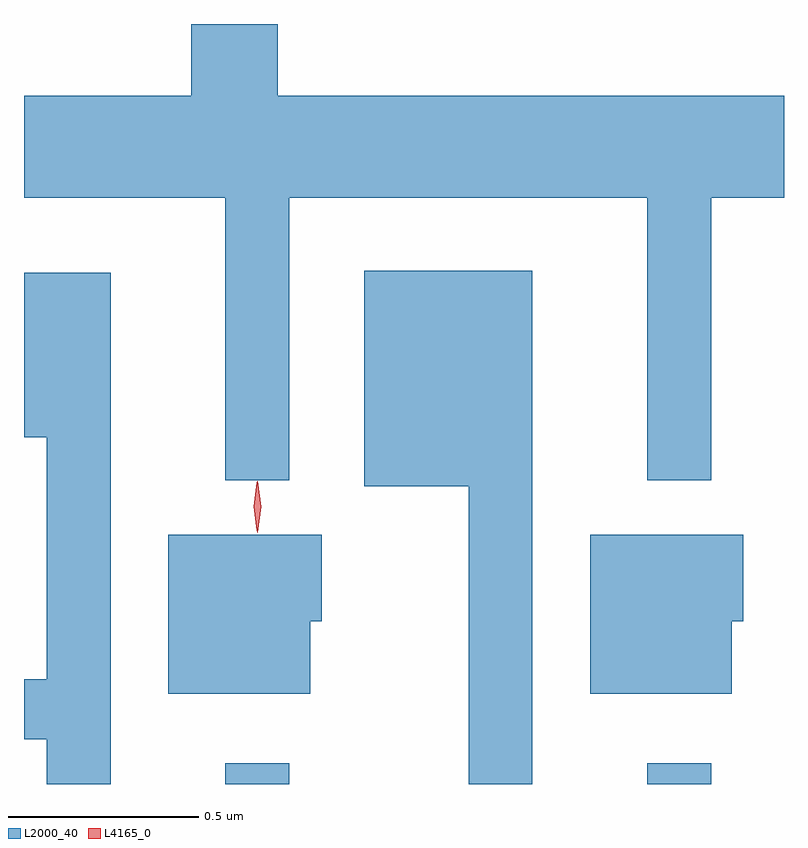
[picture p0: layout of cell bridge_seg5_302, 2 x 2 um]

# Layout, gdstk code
import gdstk
lib = gdstk.Library(unit=1e-6, precision=1e-09)
def R(c, l, rs):  # rectangles x0, y0, x1, y1
    for r in rs: c.add(gdstk.rectangle(r[:2], r[2:], *l))
def P(c, l, *ps):  # polygons
    for p in ps: c.add(gdstk.Polygon(p, *l))
L2000_40 = (2000, 40)
L4165_0 = (4165, 0)

bridge_seg5_302 = lib.new_cell('bridge_seg5_302')
R(bridge_seg5_302, L2000_40, [(722.541,1495.213,722.709,1495.268), (723.651,1495.213,723.819,1495.268)])
P(bridge_seg5_302, L2000_40, [(722.451,1497.213),(722.451,1497.024),(722.011,1497.024),(722.011,1496.756),(722.541,1496.756),(722.541,1496.013),(722.709,1496.013),(722.709,1496.756),(723.651,1496.756),(723.651,1496.013),(723.819,1496.013),(723.819,1496.756),(724.011,1496.756),(724.011,1497.024),(722.679,1497.024),(722.679,1497.213)],
  [(723.349,1496.564),(722.906,1496.564),(722.906,1495.996),(723.181,1495.996),(723.181,1495.213),(723.349,1495.213)],
  [(722.239,1496.559),(722.011,1496.559),(722.011,1496.126),(722.071,1496.126),(722.071,1495.489),(722.011,1495.489),(722.011,1495.331),(722.071,1495.331),(722.071,1495.213),(722.239,1495.213)],
  [(723.874,1495.641),(723.904,1495.641),(723.904,1495.869),(723.501,1495.869),(723.501,1495.451),(723.874,1495.451)],
  [(722.764,1495.641),(722.794,1495.641),(722.794,1495.869),(722.391,1495.869),(722.391,1495.451),(722.764,1495.451)])
P(bridge_seg5_302, L4165_0, [(722.626,1495.874),(722.625,1495.875),(722.615,1495.942),(722.625,1496.01),(722.625,1496.01),(722.626,1496.01),(722.635,1495.942),(722.626,1495.875)],
  [(722.625,1495.878),(722.624,1495.879),(722.615,1495.943),(722.624,1496.007),(722.625,1496.007),(722.625,1496.007),(722.635,1495.943),(722.625,1495.879)])

lib.write_gds('bridge_seg5_302.gds')
